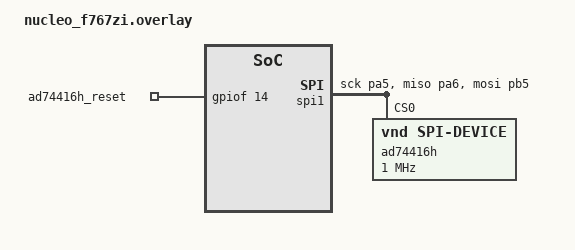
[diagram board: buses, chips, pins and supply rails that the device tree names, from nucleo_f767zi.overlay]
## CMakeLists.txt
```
# SPDX-License-Identifier: Apache-2.0

cmake_minimum_required(VERSION 3.20.0)

find_package(Zephyr REQUIRED HINTS $ENV{ZEPHYR_BASE})
project(hart_cpp)

target_sources(app PRIVATE src/main.cpp)

target_sources(app PRIVATE src/no_os.cpp)
target_sources(app PRIVATE src/ad74416h.cpp)
target_include_directories(app PRIVATE src)

FILE(GLOB lib_hip_srcs  ${LIB_HIP_PATH}/hipserver/safestringlib/safeclib/*.c
                        ${LIB_HIP_PATH}/hipserver/AppConnect/apppdu.cpp
                        ${LIB_HIP_PATH}/hipserver/AppConnect/app.cpp
                        ${LIB_HIP_PATH}/hipserver/AppConnect/tppdu.cpp
                        ${LIB_HIP_PATH}/hipserver/Realtime/toolsems.c
                        ${LIB_HIP_PATH}/hipserver/Realtime/toolthreads.c
                        ${LIB_HIP_PATH}/hipserver/Realtime/toolqueues.cpp
                        ${LIB_HIP_PATH}/hipserver/Realtime/toolutils.c
                        ${LIB_HIP_PATH}/hipserver/Server/hssems.c
                        ${LIB_HIP_PATH}/hipserver/Server/hsqueues.cpp
                        ${LIB_HIP_PATH}/hipserver/Server/hssubscribe.cpp
                        ${LIB_HIP_PATH}/hipserver/Server/hsrequest.cpp
                        # ${LIB_HIP_PATH}/hipserver/Server/hsthreads.c
                        ${LIB_HIP_PATH}/hipserver/Server/hsudp.cpp
                        # ${LIB_HIP_PATH}/hipserver/Realtime/*.c
)

zephyr_library_sources(${lib_hip_srcs})
# zephyr_include_directories(${LIB_HIP_PATH}/hipserver/Server
#                                 ${LIB_HIP_PATH}/hipserver/Common
#                                 ${LIB_HIP_PATH}/hipserver/Realtime
#                                 ${LIB_HIP_PATH}/Commands
#                                 ${LIB_HIP_PATH}
#                                 ${LIB_HIP_PATH}/hipserver/AppConnect
#                                 ${LIB_HIP_PATH}/hipserver/safestringlib/include
#                        )
zephyr_include_directories(     ${LIB_HIP_PATH}/hipserver/Common
                                ${LIB_HIP_PATH}/hipserver/Realtime
                                ${LIB_HIP_PATH}/hipserver/AppConnect
                                ${LIB_HIP_PATH}/hipserver/Server
                                # ${LIB_HIP_PATH}/hipserver/AppConnect
                                ${LIB_HIP_PATH}/hipserver/safestringlib/include
)

target_compile_options(app PRIVATE -fpermissive)
```

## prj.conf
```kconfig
CONFIG_CPP=y
CONFIG_REQUIRES_FULL_LIBCPP=y
CONFIG_NEWLIB_LIBC=y
CONFIG_NEWLIB_LIBC_NANO=n
CONFIG_NEWLIB_LIBC_FLOAT_PRINTF=y

CONFIG_POSIX_API=y

CONFIG_MAIN_THREAD_PRIORITY=2

CONFIG_POSIX_THREAD_THREADS_MAX=20
CONFIG_DYNAMIC_THREAD_STACK_SIZE=4096
# CONFIG_POSIX_SEM_VALUE_MAX=32767
# CONFIG_POSIX_MESSAGE_PASSING=y
# CONFIG_POSIX_PRIORITY_SCHEDULING=y
CONFIG_HEAP_MEM_POOL_SIZE=32767
# CONFIG_THREAD_NAME=y
CONFIG_DYNAMIC_THREAD=y
CONFIG_THREAD_STACK_INFO=y
CONFIG_DYNAMIC_THREAD_POOL_SIZE=20

CONFIG_POSIX_SEM_NAMELEN_MAX=30
CONFIG_MQUEUE_NAMELEN_MAX=30
# CONFIG_MSG_SIZE_MAX=2048

CONFIG_NETWORKING=y
CONFIG_NET_LOG=y
# CONFIG_LOG=y
# CONFIG_NET_IPV6=y
# CONFIG_NET_IPV4=y
# CONFIG_NET_DHCPV4=n
CONFIG_NET_UDP=y
CONFIG_NET_TCP=y

CONFIG_NET_L2_ETHERNET=y
CONFIG_NET_CONFIG_SETTINGS=y
CONFIG_NET_CONFIG_NEED_IPV6=y
CONFIG_NET_CONFIG_MY_IPV6_ADDR="2001:db8::1"
CONFIG_NET_CONFIG_PEER_IPV6_ADDR="2001:db8::2"
CONFIG_NET_CONFIG_NEED_IPV4=y
CONFIG_NET_CONFIG_MY_IPV4_ADDR="192.168.1.5"
CONFIG_NET_SOCKETS_POLL_MAX=10
CONFIG_NET_SOCKETS_POSIX_NAMES=y

CONFIG_NET_PKT_RX_COUNT=64
CONFIG_NET_PKT_TX_COUNT=64
CONFIG_NET_BUF_RX_COUNT=512
CONFIG_NET_BUF_TX_COUNT=512

CONFIG_NET_DEFAULT_IF_FIRST=y
CONFIG_NET_DEFAULT_IF_ETHERNET=y

# CONFIG_DEBUG_OPTIMIZATIONS=y
# CONFIG_STACK_SENTINEL=y
CONFIG_DEBUG_INFO=y
CONFIG_LOG=y
CONFIG_LOG_DEFAULT_LEVEL=3
# CONFIG_THREAD_ANALYZER=y
# CONFIG_THREAD_ANALYZER_USE_LOG=y
# CONFIG_NO_OPTIMIZATIONS=y
CONFIG_GPIO=y
CONFIG_SPI=y

CONFIG_MAIN_STACK_SIZE=8192
# CONFIG_SYSTEM_WORKQUEUE_STACK_SIZE=32000
```

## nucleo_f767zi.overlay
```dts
/ {
	leds: leds {
		ad74416h_reset: ad74416h_reset {
			gpios = <&gpiof 14 GPIO_ACTIVE_HIGH>;
			label = "ad74416h_reset";
		};
	};
};

&spi1 {
	pinctrl-0 = <&spi1_sck_pa5 &spi1_miso_pa6 &spi1_mosi_pb5>;
	pinctrl-names = "default";

	ad74416h: ad74416h@0 {
		compatible = "vnd,spi-device";
		reg = <0>;
		spi-max-frequency = <1000000>;
		label = "ad74416h";
	};
};
```

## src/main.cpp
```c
/*
 * Copyright (c) 2023, Meta
 *
 * SPDX-License-Identifier: Apache-2.0
 */

#include <iostream>

#include "pthread.h"
#include "mqueue.h"
#include "signal.h"

#include "appconnector.h"
#include "tppdu.h"
#include "datatypes.h"

#include "hssems.h"
#include "hsudp.h"
#include "hsthreads.h"
#include "hsqueues.h"
#include "toolthreads.h"
#include "serverstate.h"
#include "ad74416h.h"

template<> bool AppConnector<AppPdu>::time2stop = false;
// FILE *p_toolLogPtr = NULL;
static uint16_t portNum = 5094;
enum AppState eAppState = APP_STOP;

pthread_t popRxThrID;  // used by Server to read msg from APP
pthread_t popTxThrID;  // used by APP to read msg from Server
pthread_t socketThrID; // used by Server to read socket
pthread_t appThrID = 0; // used by Server to launch the APP program


int signal(int signum, void (*_sig_func_ptr)(int))
{
	return 0;
}

int raise(int sig)
{
	return 0;
}

void bcm2835_delay(unsigned int millis)
{

}

errVal_t create_hs_semaphores(uint8_t createFlag)
{
	errVal_t errVal = SEM_ERROR;

	const char *funcName = "create_hs_semaphores";

	/* Create/open all synchronization semaphores */
	uint8_t initVal = (createFlag ? SEMTAKEN : SEMIGN);

	do
	{
		if (create_semaphores(createFlag) != NO_ERROR)
		{
			break;
		}
		// #191
		char semStop[SEM_NAME_SIZE] = "semStopMainThr";
		char semServ[SEM_NAME_SIZE] = "semServerTables";
		createUniqueName(semStop);

		p_semStopMainThr = open_a_semaphore(semStop, createFlag,
				initVal);
		if (p_semStopMainThr == NULL)
		{
			printf("Null p_semStopMainThr\n");
			break;
		}

		createUniqueName(semServ);
		p_semServerTables = open_a_semaphore(semServ, createFlag,
				initVal);
		if (p_semServerTables == NULL)
		{
			printf("Null p_semServerTables\n");
			break;
		}

		errVal = NO_ERROR;
	} while (0);

	if ((createFlag) && (errVal == NO_ERROR))
	{
		// dbgp_init("  %d %s Semaphores Created\n", get_sem_count(), TOOL_NAME);
		sem_post(p_semServerTables);	// access to Server Tables is enabled
	}
	else
	{
		printf("Failed to create p_semServerTables");
	}
	dbgp_init("----------------------------------\n");

	return errVal;
}

static errVal_t create_hs_threads(void)
{
	const char *popRxThrName = "popRxMsg Thread";
	const char *popTxThrName = "popTxMsg Thread";
	const char *socketThrName = "Socket Thread";
	errVal_t errval = NO_ERROR;

	/* Thread to process HServer socket communication */
	errval = start_a_thread(&socketThrID, socketThrFunc, socketThrName);

	/* Thread for Server to receive msg from APP */
	//errval = start_a_thread(&popRxThrID, popRxThrFunc, popRxThrName);

	return (errval);
}

void shutdown_server(void)
{
	// Send the signal for Ctrl+C to the thread.
	// #6004
	// sighandler_hs_endall(SIGINT);
}

struct ad74416h_desc *ad74416h;


int main(void)
{
	int ret;
	uint16_t reg_read;
	errVal_t errval = NO_ERROR;
	char *app_name = "ADI HART-IP Zephyr Server";
	struct ad74416h_init_param ad74416h_ip = {
		.id = 	ID_AD74416H,
	};

	ret = ad74416h_init(&ad74416h,
			    &ad74416h_ip);
	if (ret) {
		printf("%s:%d: error\n", __func__, __LINE__);
	} else {
		//printf("%s:%d: success\n", __func__, __LINE__);
	}

	ret = ad74416h_gpio_set(ad74416h, AD74416H_CH_B, NO_OS_GPIO_HIGH);
	if (ret)
		printf("ad74416h_gpio_set() failed\n");

	ret = ad74416h_gpio_set(ad74416h, AD74416H_CH_D, NO_OS_GPIO_HIGH);
	if (ret)
		printf("ad74416h_gpio_set() failed\n");


	/* Configure the channel in the appropriate function (current input loop powered with HART) */
	ret = ad74416h_reg_update(ad74416h, AD74416H_CH_FUNC_SETUP(0),
				  AD74416H_CH_FUNC_SETUP_MSK,
				  AD74416H_CURRENT_IN_LOOP_HART);
	if (ret)
		printf("%s:%d: error\n", __func__, __LINE__);

	/* Wait 200 μs before proceeding with another step */
	no_os_udelay(200);

	/* Wait until HART Compliant Slew is Settled */
	while (1) {
		ret = ad74416h_reg_read(ad74416h,
					AD74416H_OUTPUT_CONFIG(0), &reg_read);
		if (ret)
			printf("%s:%d: error\n", __func__, __LINE__);
		reg_read = no_os_field_get(AD74416H_HART_COMPL_SETTLED_MSK, reg_read);
		if (reg_read == 1)
			break;
	}

	/* Enable the HART slew option SLEW_EN to binary 10 (SLEW_HART_COMPL) */
	ret = ad74416h_reg_update(ad74416h, AD74416H_OUTPUT_CONFIG(0),
				  AD74416H_SLEW_EN_MSK, 2);
	if (ret)
		printf("%s:%d: error\n", __func__, __LINE__);

	/* Power up the HART modem */
	ret = ad74416h_reg_update(ad74416h, AD74416H_HART_CONFIG(0), AD74416H_MODEM_PWRUP_MSK, 1);
	if (ret)
		printf("%s:%d: error\n", __func__, __LINE__);

	ret = create_hs_semaphores(1);

	ret = create_hs_threads();

	while(1){
		k_sleep(K_MSEC(10));
	}

	return 0;
}
```

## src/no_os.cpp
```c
#include "no_os.h"
#include <stdlib.h>
#include <zephyr/drivers/spi.h>

void no_os_put_unaligned_be16(uint16_t val, uint8_t *buf)
{
	buf[1] = val & 0xFF;
	buf[0] = val >> 8;
}

uint8_t no_os_crc8(const uint8_t * table, const uint8_t *pdata, size_t nbytes,
		   uint8_t crc)
{
	unsigned int idx;

	while (nbytes--) {
		idx = (crc ^ *pdata);
		crc = (table[idx]) & 0xff;
		pdata++;
	}

	return crc;
}

void no_os_crc8_populate_msb(uint8_t * table, const uint8_t polynomial)
{
	if (!table)
		return;

	for (int16_t n = 0; n < NO_OS_CRC8_TABLE_SIZE; n++) {
		uint8_t currByte = (uint8_t)n;
		for (uint8_t bit = 0; bit < 8; bit++) {
			if ((currByte & 0x80) != 0) {
				currByte <<= 1;
				currByte ^= polynomial;
			} else {
				currByte <<= 1;
			}
		}
		table[n] = currByte;
	}
}

uint16_t no_os_get_unaligned_be16(uint8_t *buf)
{
	return buf[1] | ((uint16_t)buf[0] << 8);
}

uint32_t no_os_find_first_set_bit(uint32_t word)
{
	uint32_t first_set_bit = 0;

	while (word) {
		if (word & 0x1)
			return first_set_bit;
		word >>= 1;
		first_set_bit ++;
	}

	return 32;
}

uint32_t no_os_field_prep(uint32_t mask, uint32_t val)
{
	return (val << no_os_find_first_set_bit(mask)) & mask;
}

uint32_t no_os_field_get(uint32_t mask, uint32_t word)
{
	return (word & mask) >> no_os_find_first_set_bit(mask);
}

int32_t no_os_gpio_direction_output(struct no_os_gpio_desc *desc,
				    uint8_t value)
{
	return 0;
}


int32_t no_os_gpio_get_optional(struct no_os_gpio_desc **desc,
				const struct no_os_gpio_init_param *param)
{
	static const struct gpio_dt_spec ad74416h_reset =
		GPIO_DT_SPEC_GET(DT_NODELABEL(ad74416h_reset), gpios);

	int ret;

	ret = gpio_pin_configure_dt(&ad74416h_reset, GPIO_OUTPUT_LOW);
	if (ret)
		return ret;

	return 0;
}

int32_t no_os_gpio_remove(struct no_os_gpio_desc *desc)
{
	return 0;
}

int32_t no_os_gpio_set_value(struct no_os_gpio_desc *desc,
			     uint8_t value)
{
	return 0;
}

int32_t no_os_spi_init(struct no_os_spi_desc **desc,
		       const struct no_os_spi_init_param *param)
{
	return 0;
}

int32_t no_os_spi_remove(struct no_os_spi_desc *desc)
{
	return 0;
}

int32_t no_os_spi_write_and_read(struct no_os_spi_desc *desc,
				 uint8_t *data,
				 uint16_t bytes_number)
{
	const struct spi_dt_spec dev_spi =
		SPI_DT_SPEC_GET(DT_NODELABEL(ad74416h/*adin1110*/),
					     SPI_OP_MODE_MASTER |
					     SPI_TRANSFER_MSB |
					     SPI_WORD_SET(8) |
					     SPI_MODE_CPOL,
					     0);
	struct spi_buf_set rx_buf_set;
	struct spi_buf_set tx_buf_set;
	struct spi_buf rx_buf;
	struct spi_buf tx_buf;

	tx_buf.len = bytes_number;
	tx_buf.buf = data;
	tx_buf_set.buffers = &tx_buf;
	tx_buf_set.count = 1;

	rx_buf.len = bytes_number;
	rx_buf.buf = data;
	rx_buf_set.buffers = &rx_buf;
	rx_buf_set.count = 1;

	return spi_transceive_dt(&dev_spi, &tx_buf_set, &rx_buf_set);
}

void no_os_udelay(uint32_t usecs)
{
	k_sleep(K_USEC(usecs));
}

void no_os_mdelay(uint32_t msecs)
{
	k_sleep(K_MSEC(msecs));
}

unsigned int no_os_hweight8(uint8_t word)
{
	uint32_t count = 0;

	while (word) {
		if (word & 0x1)
			count++;
		word >>= 1;
	}

	return count;
}

uint64_t no_os_do_div(uint64_t* n,
		      uint64_t base)
{
	uint64_t mod = 0;

	mod = *n % base;
	*n = *n / base;

	return mod;
}

uint64_t no_os_div_u64_rem(uint64_t dividend, uint32_t divisor,
			   uint32_t *remainder)
{
	*remainder = no_os_do_div(&dividend, divisor);

	return dividend;
}

int64_t no_os_div_s64_rem(int64_t dividend, int32_t divisor, int32_t *remainder)
{
	*remainder = dividend % divisor;

	return dividend / divisor;
}


__attribute__((weak)) void *no_os_calloc(size_t nitems, size_t size)
{
	return calloc(nitems, size);
}

__attribute__((weak)) void no_os_free(void *ptr)
{
	free(ptr);
}
```

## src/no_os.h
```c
#ifndef __NO_OS_H__
#define __NO_OS_H__

#include <stdint.h>
#include <errno.h>

struct no_os_spi_init_param {
};

struct no_os_spi_desc {
};

struct no_os_gpio_init_param{
};

struct no_os_gpio_desc {
};

enum no_os_gpio_values {
	/** GPIO logic low */
	NO_OS_GPIO_LOW,
	/** GPIO logic high */
	NO_OS_GPIO_HIGH,
	/** GPIO high impedance */
	NO_OS_GPIO_HIGH_Z
};

#define NO_OS_CRC8_TABLE_SIZE 256

#define NO_OS_DECLARE_CRC8_TABLE(_table) \
	static uint8_t _table[NO_OS_CRC8_TABLE_SIZE]

#define NO_OS_BIT(x)	(1 << (x))
#define NO_OS_BITS_PER_LONG 32

#define NO_OS_GENMASK(h, l) ({ 					\
		uint32_t t = (uint32_t)(~0UL);			\
		t = t << (NO_OS_BITS_PER_LONG - (h - l + 1));	\
		t = t >> (NO_OS_BITS_PER_LONG - (h + 1));	\
		t;						\
})

void no_os_put_unaligned_be16(uint16_t val, uint8_t *buf);
uint16_t no_os_get_unaligned_be16(uint8_t *buf);
uint8_t no_os_crc8(const uint8_t * table, const uint8_t *pdata, size_t nbytes,
		   uint8_t crc);
void no_os_crc8_populate_msb(uint8_t * table, const uint8_t polynomial);
uint32_t no_os_find_first_set_bit(uint32_t word);
uint32_t no_os_field_prep(uint32_t mask, uint32_t val);
uint32_t no_os_field_get(uint32_t mask, uint32_t word);
void no_os_udelay(uint32_t usecs);
void no_os_mdelay(uint32_t msecs);
int32_t no_os_spi_write_and_read(struct no_os_spi_desc *desc,
				 uint8_t *data,
				 uint16_t bytes_number);
unsigned int no_os_hweight8(uint8_t word);
uint64_t no_os_div_u64_rem(uint64_t dividend, uint32_t divisor,
			   uint32_t *remainder);
int64_t no_os_div_s64_rem(int64_t dividend, int32_t divisor, int32_t *remainder);
void *no_os_calloc(size_t nitems, size_t size);
void no_os_free(void *ptr);
int32_t no_os_gpio_direction_output(struct no_os_gpio_desc *desc,
				    uint8_t value);
int32_t no_os_gpio_set_value(struct no_os_gpio_desc *desc,
			     uint8_t value);
int32_t no_os_gpio_get_optional(struct no_os_gpio_desc **desc,
				const struct no_os_gpio_init_param *param);
int32_t no_os_gpio_remove(struct no_os_gpio_desc *desc);
int32_t no_os_spi_init(struct no_os_spi_desc **desc,
		       const struct no_os_spi_init_param *param);
int32_t no_os_spi_remove(struct no_os_spi_desc *desc);
#endif // __NO_OS_H__
```
